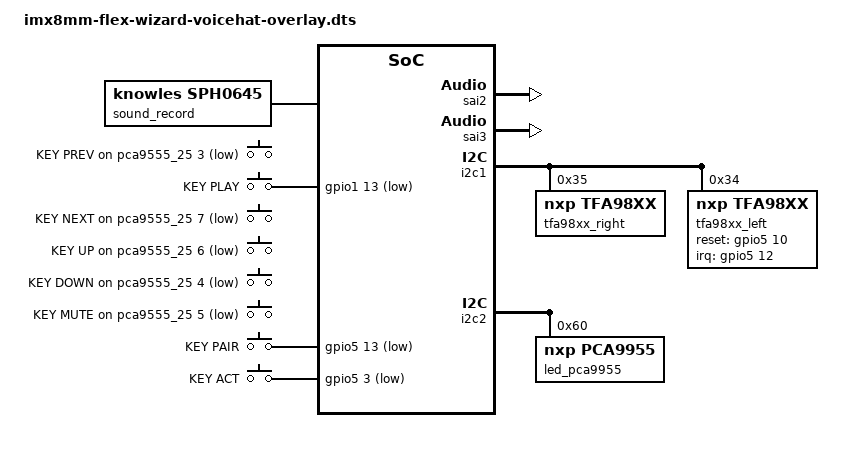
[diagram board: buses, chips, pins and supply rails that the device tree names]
// SPDX-License-Identifier: (GPL-2.0+ OR MIT)
/*
 * Copyright 2020 TechNexion Ltd.
 *
 * Author: Richard Hu <richard.hu@technexion.com>
 *         Ray Chang <ray.chang@technexion.com>
 *
 */

/dts-v1/;
/plugin/;

#include <dt-bindings/clock/imx8mm-clock.h>
#include <dt-bindings/interrupt-controller/irq.h>
#include <dt-bindings/input/input.h>
#include <dt-bindings/gpio/gpio.h>

/ {
	fragment@0 {
		target-path = "/";
		__overlay__ {
			sound-wm8960 {
				status = "disabled";
			};

			sound-tfa9912 {
				compatible = "nxp,imx-audio-tfa98xx", "nxp,imx-tfa98xx";
				nxp,model = "TFA9912";
				cpu-dai = <&sai2>;
				ssi-controller = <&sai2>;
				nxp,audio-codec = <&tfa98xx_left &tfa98xx_right>;
				nxp,audio-routing =
					"Speaker", "OUTL",
					"DMIC1", "Mic",
					"DMIC2", "Mic",
					"DMIC3", "Mic",
					"DMIC4", "Mic";
			};

			sound-sph0645 {
				compatible = "nxp,imx-audio-sph0645", "nxp,imx-sph0645";
				nxp,model = "SPH0645";
				cpu-dai = <&sai3>;
				ssi-controller = <&sai3>;
				nxp,audio-codec = <&sound_record>;
			};

			sound_record: codec {
				compatible = "knowles,sph0645";
			};

			gpio_keys {
				compatible = "gpio-keys";
				pinctrl-names = "default";
				pinctrl-0 = <&pinctrl_gpio_key_voicehat>;

				prev {
					gpios = <&pca9555_25 3 GPIO_ACTIVE_LOW>;
					label = "KEY PREV";
					linux,code = <KEY_PREVIOUS>;
				};

				play {
					gpios = <&gpio1 13 GPIO_ACTIVE_LOW>;
					label = "KEY PLAY";
					linux,code = <KEY_PLAY>;
				};

				next {
					gpios = <&pca9555_25 7 GPIO_ACTIVE_LOW>;
					label = "KEY NEXT";
					linux,code = <KEY_NEXT>;
				};

				up {
					gpios = <&pca9555_25 6 GPIO_ACTIVE_LOW>;
					label = "KEY UP";
					linux,code = <KEY_UP>;
				};

				down {
					gpios = <&pca9555_25 4 GPIO_ACTIVE_LOW>;
					label = "KEY DOWN";
					linux,code = <KEY_DOWN>;
				};

				mute {
					gpios = <&pca9555_25 5 GPIO_ACTIVE_LOW>;
					label = "KEY MUTE";
					linux,code = <KEY_MUTE>;
				};

				pair {
					gpios = <&gpio5 13 GPIO_ACTIVE_LOW>;
					label = "KEY PAIR";
					linux,code = <KEY_SELECT>;
				};

				act {
					gpios = <&gpio5 3 GPIO_ACTIVE_LOW>;
					label = "KEY ACT";
					linux,code = <KEY_OK>;
				};
			};
		};
	};

	fragment@1 {
		target = <&sai2>;
		__overlay__ {
			status = "okay";
		};
	};

	fragment@2 {
		target = <&sai3>;
		__overlay__ {
			status = "okay";
		};
	};

	fragment@3 {
		target = <&ecspi2>;
		__overlay__ {
			status = "disabled";
		};
	};

	fragment@4 {
		target = <&pwm2>;
		__overlay__ {
			status = "disabled";
		};
	};

	fragment@5 {
		target = <&pwm3>;
		__overlay__ {
			status = "disabled";
		};
	};

	fragment@6 {
		target = <&i2c1>;
		__overlay__ {
			#address-cells = <1>;
			#size-cells = <0>;
			status = "okay";

			tfa98xx_right: tfa98xx_right@35 {
				compatible = "nxp,tfa98xx";
				reg = <0x35>;
			};

			tfa98xx_left: tfa98xx_left@34 {
				compatible = "nxp,tfa98xx";
				pinctrl-names = "default";
				pinctrl-0 = <&pinctrl_tfa98xx>;
				reg = <0x34>;
				reset-gpio = <&gpio5 10 GPIO_ACTIVE_HIGH>;
				irq-gpio = <&gpio5 12 GPIO_ACTIVE_HIGH>;
			};
		};
	};

	fragment@7 {
		target = <&i2c2>;
		__overlay__ {
			#address-cells = <1>;
			#size-cells = <0>;
			status = "okay";

			/* PCA9955 - 16-bit RGB LED */
			led_pca9955: pca9955@60 {
				#address-cells = <1>;
				#size-cells = <0>;
				compatible = "nxp,pca9955";
				reg = <0x60>;

				led0 {
					label = "blue0";
					linux,default-trigger = "none";
					reg = <0>;
				};

				led1 {
					label = "green0";
					linux,default-trigger = "none";
					reg = <1>;
				};

				led2 {
					label = "red0";
					linux,default-trigger = "none";
					reg = <2>;
				};

				led3 {
					label = "blue1";
					linux,default-trigger = "none";
					reg = <3>;
				};

				led4 {
					label = "green1";
					linux,default-trigger = "none";
					reg = <4>;
				};

				led5 {
					label = "red1";
					linux,default-trigger = "none";
					reg = <5>;
				};

				led6 {
					label = "blue2";
					linux,default-trigger = "none";
					reg = <6>;
				};

				led7 {
					label = "green2";
					linux,default-trigger = "none";
					reg = <7>;
				};

				led8 {
					label = "red2";
					linux,default-trigger = "none";
					reg = <8>;
				};

				led9 {
					label = "blue3";
					linux,default-trigger = "none";
					reg = <9>;
				};

				led10 {
					label = "green3";
					linux,default-trigger = "none";
					reg = <10>;
				};

				led11 {
					label = "red3";
					linux,default-trigger = "none";
					reg = <11>;
				};

				led12 {
					label = "blue4";
					linux,default-trigger = "none";
					reg = <12>;
				};

				led13 {
					label = "green4";
					linux,default-trigger = "none";
					reg = <13>;
				};

				led14 {
					label = "red4";
					linux,default-trigger = "none";
					reg = <14>;
				};

				led15 {
					label = "blue5";
					linux,default-trigger = "none";
					reg = <15>;
				};
			};
		};
	};
};
